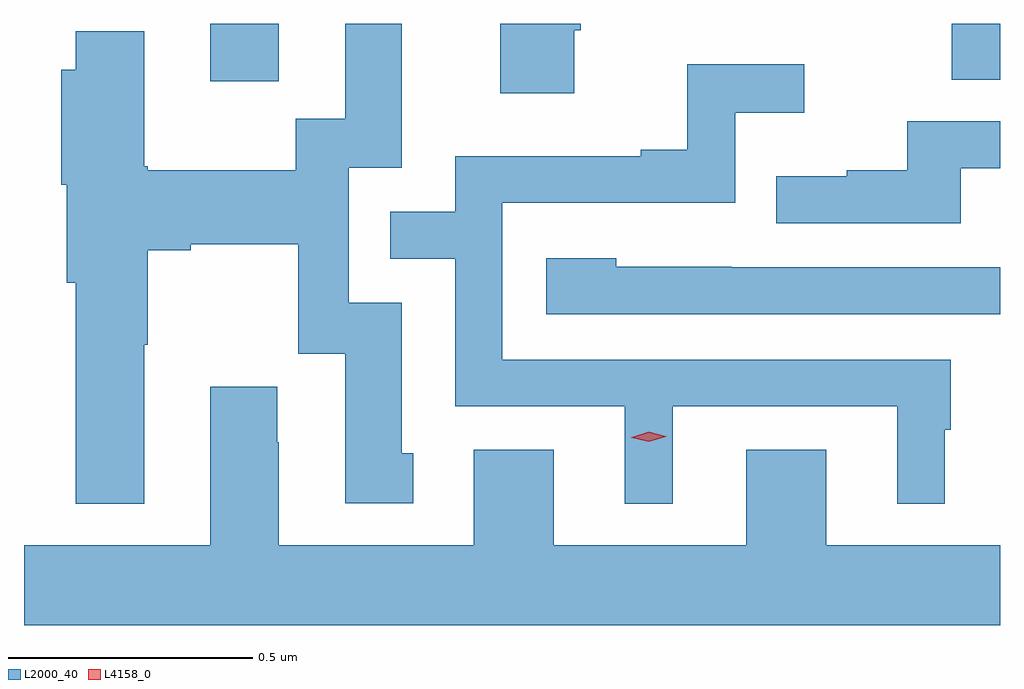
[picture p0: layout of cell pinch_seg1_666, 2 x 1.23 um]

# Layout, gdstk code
import gdstk
lib = gdstk.Library(unit=1e-6, precision=1e-09)
def R(c, l, rs):  # rectangles x0, y0, x1, y1
    for r in rs: c.add(gdstk.rectangle(r[:2], r[2:], *l))
def P(c, l, *ps):  # polygons
    for p in ps: c.add(gdstk.Polygon(p, *l))
L2000_40 = (2000, 40)
L4158_0 = (4158, 0)

pinch_seg1_666 = lib.new_cell('pinch_seg1_666')
R(pinch_seg1_666, L2000_40, [(796.187,552.846,796.327,552.964), (797.706,552.85,797.805,552.964)])
P(pinch_seg1_666, L2000_40, [(796.933,552.951),(796.946,552.951),(796.946,552.964),(796.781,552.964),(796.781,552.822),(796.933,552.822)],
  [(796.051,552.307),(796.059,552.307),(796.059,552.5),(796.147,552.5),(796.147,552.512),(796.367,552.512),(796.367,552.288),(796.463,552.288),(796.463,551.982),(796.603,551.982),(796.603,552.084),(796.579,552.084),(796.579,552.393),(796.47,552.393),(796.47,552.669),(796.579,552.669),(796.579,552.964),(796.463,552.964),(796.463,552.77),(796.362,552.77),(796.362,552.664),(796.059,552.664),(796.059,552.672),(796.051,552.672),(796.051,552.949),(795.911,552.949),(795.911,552.87),(795.881,552.87),(795.881,552.634),(795.893,552.634),(795.893,552.434),(795.911,552.434),(795.911,551.981),(796.051,551.981)],
  [(797.134,552.18),(797.594,552.18),(797.594,551.981),(797.692,551.981),(797.692,552.132),(797.704,552.132),(797.704,552.276),(796.785,552.276),(796.785,552.597),(797.262,552.597),(797.262,552.782),(797.404,552.782),(797.404,552.881),(797.164,552.881),(797.164,552.706),(797.069,552.706),(797.069,552.693),(796.689,552.693),(796.689,552.579),(796.555,552.579),(796.555,552.483),(796.689,552.483),(796.689,552.18),(797.036,552.18),(797.036,551.981),(797.134,551.981)],
  [(797.725,552.668),(797.805,552.668),(797.805,552.765),(797.615,552.765),(797.615,552.664),(797.491,552.664),(797.491,552.652),(797.347,552.652),(797.347,552.555),(797.725,552.555)],
  [(797.805,552.465),(797.255,552.465),(797.255,552.466),(797.019,552.466),(797.019,552.484),(796.875,552.484),(796.875,552.369),(797.805,552.369)],
  [(797.805,551.896),(797.449,551.896),(797.449,552.091),(797.285,552.091),(797.285,551.896),(796.891,551.896),(796.891,552.091),(796.727,552.091),(796.727,551.896),(796.327,551.896),(796.327,552.107),(796.324,552.107),(796.324,552.22),(796.187,552.22),(796.187,551.896),(795.805,551.896),(795.805,551.732),(797.805,551.732)])
P(pinch_seg1_666, L4158_0, [(797.085,552.108),(797.05,552.116),(797.049,552.116),(797.05,552.117),(797.085,552.128),(797.12,552.119),(797.121,552.119),(797.12,552.118)])

lib.write_gds('pinch_seg1_666.gds')
